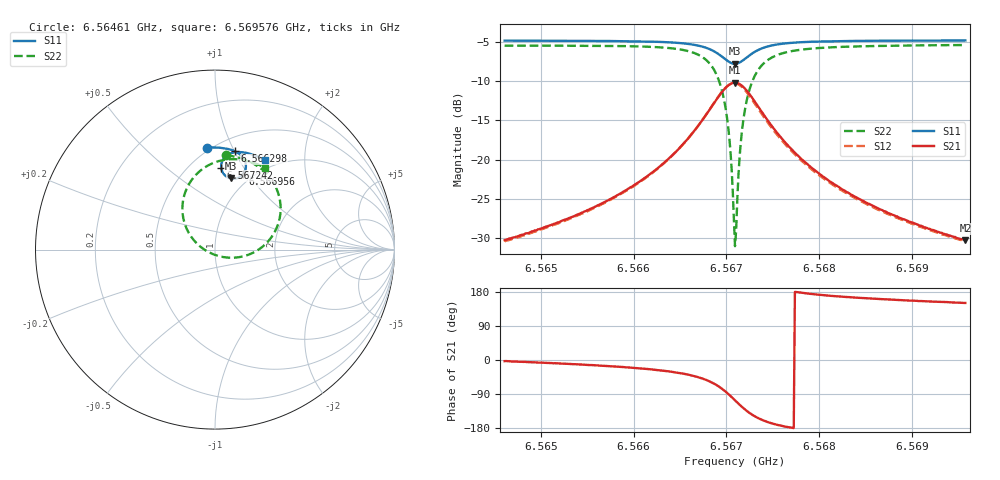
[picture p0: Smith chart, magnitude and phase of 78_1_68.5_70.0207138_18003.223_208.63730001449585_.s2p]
#  HZ  S  RI  R  50.00
! Rohde & Schwarz Vector Network Analyzer
! Rohde-Schwarz,ZNB20-2Port,1311601062101988,3.16
! Created: UTC 3/20/2024, 4:52:01 PM
! freq[Hz]  re:S11  im:S11  re:S21  im:S21  re:S12  im:S12  re:S22  im:S22
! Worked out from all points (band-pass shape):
!   401 points, 6.56461 GHz to 6.569576 GHz, reference 50 ohm
!   highest |S21| = -10.23 dB at 6.567093 GHz (marker M1); lowest = -30.3 dB at 6.569576 GHz (marker M2)
!   |S21| within 3 dB of the highest: 6.566844 GHz to 6.56734 GHz (496.2 kHz wide, 0.00756 % of centre)
!   lowest |S11| = -7.8 dB at 6.567093 GHz (marker M3), VSWR 2.37, Z = 42.2 + j40 ohm
!   |S11| at or under -10 dB: nowhere
!   |S22| runs from -31.0 to -5.4 dB; largest |S21 - S12| = 0.016
!   S11 on the Smith chart (normalised r, x): 6.56461 GHz: 0.48, +0.81; 6.566298 GHz: 0.63, +1.01; 6.566956 GHz: 0.90, +0.95; 6.567242 GHz: 0.70, +0.80; 6.569576 GHz: 0.88, +1.30
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6.5646096e9  -0.0423 0.5678  0.0307 -0.00159  0.0301 -0.00194  0.0606 0.5256
6.5654415e9  0.0273 0.5674  0.0449 -0.00963  0.0441 -0.0103  0.1438 0.5088
6.5662735e9  0.1088 0.5486  0.0799 -0.0405  0.0786 -0.0413  0.2648 0.444
6.5662983e9  0.1116 0.5473  0.0817 -0.0425  0.0804 -0.0436  0.2698 0.4396
6.566559e9  0.1439 0.5263  0.1037 -0.0785  0.1021 -0.0803  0.3279 0.3686
6.5667577e9  0.1677 0.4906  0.1173 -0.1413  0.1145 -0.1446  0.365 0.2473
6.5668695e9  0.1714 0.4552  0.1053 -0.2037  0.0998 -0.2081  0.3467 0.128
6.5669564e9  0.1569 0.4207  0.0628 -0.2628  0.053 -0.2662  0.2675 0.0184
6.5670185e9  0.1311 0.4005  0.0045 -0.295  -0.00876 -0.2953  0.1585 -0.0373
6.5670433e9  0.1174 0.3959  -0.0248 -0.3009  -0.0388 -0.2991  0.1047 -0.0453
6.5670806e9  0.0949 0.395  -0.0715 -0.2991  -0.0855 -0.2933  0.0211 -0.0362
6.567093e9  0.0874 0.3963  -0.0869 -0.2953  -0.1005 -0.2882  -0.00573 -0.0276
6.5671054e9  0.0801 0.3983  -0.1018 -0.2901  -0.1149 -0.2818  -0.0317 -0.0162
6.5671178e9  0.0731 0.4013  -0.1161 -0.2833  -0.1286 -0.274  -0.0559 -0.00223
6.5671426e9  0.0605 0.4094  -0.1419 -0.2662  -0.1526 -0.255  -0.0989 0.0318
6.5671675e9  0.0501 0.4195  -0.1631 -0.2455  -0.1717 -0.2329  -0.1327 0.0719
6.567242e9  0.0348 0.455  -0.1972 -0.1751  -0.1996 -0.1622  -0.1803 0.1997
6.5673413e9  0.0412 0.4945  -0.1941 -0.0982  -0.1918 -0.0885  -0.1607 0.3329
6.5674903e9  0.0686 0.5264  -0.159 -0.0359  -0.1555 -0.0307  -0.0851 0.4369
6.5679249e9  0.1366 0.5438  -0.0876 0.00924  -0.0854 0.0105  0.0714 0.5025
6.5687569e9  0.2181 0.5259  -0.0426 0.0158  -0.0416 0.0162  0.2039 0.4875
6.5695764e9  0.2805 0.4975  -0.0267 0.015  -0.0261 0.0151  0.2807 0.4545
